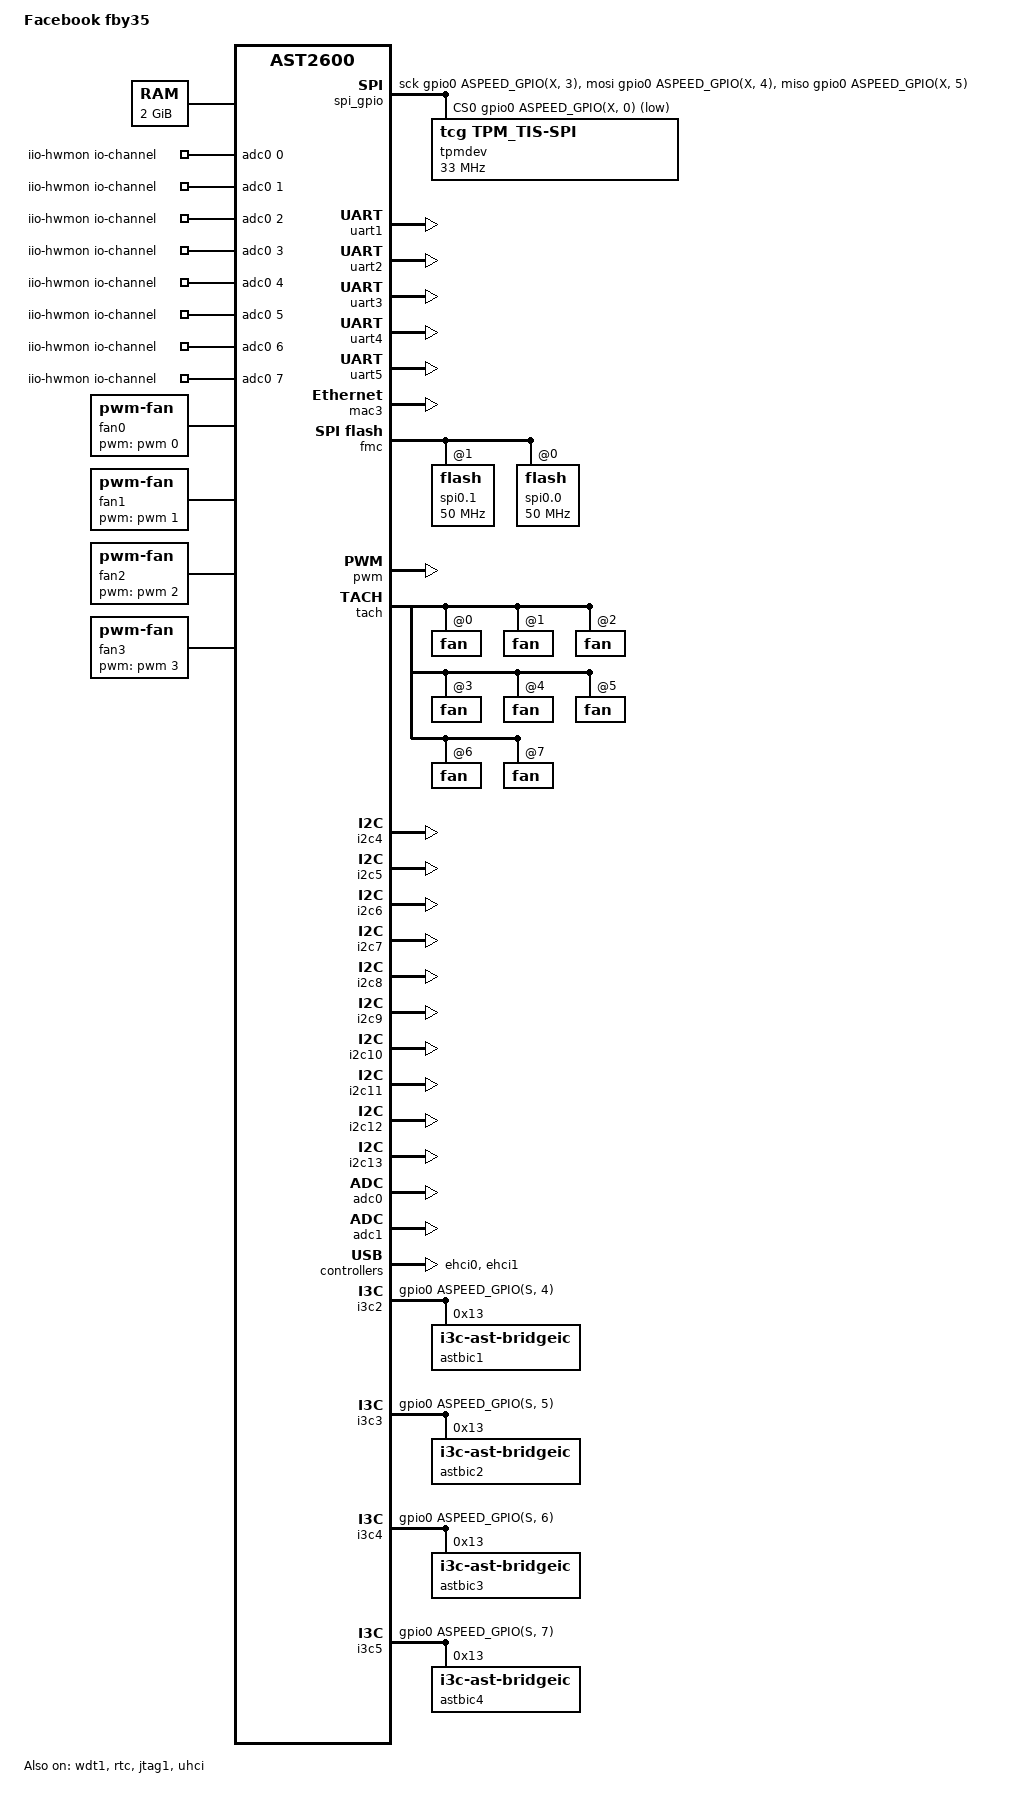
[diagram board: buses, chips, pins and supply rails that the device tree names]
// SPDX-License-Identifier: GPL-2.0-or-later
// Copyright (c) 2020 Facebook Inc.

/dts-v1/;

#include "aspeed-g6.dtsi"
#include <dt-bindings/gpio/aspeed-gpio.h>
#include <dt-bindings/leds/leds-pca955x.h>

/ {
	model = "Facebook fby35";
	compatible = "facebook,fby35", "aspeed,ast2600";

	aliases {
		serial0 = &uart5;
		serial1 = &uart1;
		serial2 = &uart2;
		serial3 = &uart3;
		serial4 = &uart4;

		spi2 = &spi_gpio;
	};

	chosen {
		stdout-path = &uart5;
		bootargs = "console=ttyS0,57600n8 root=/dev/ram rw vmalloc=384M";
	};

	memory@80000000 {
		device_type = "memory";
		reg = <0x80000000 0x80000000>;
	};
	iio-hwmon {
		compatible = "iio-hwmon";
		io-channels = <&adc0 0>, <&adc0 1>, <&adc0 2>, <&adc0 3>,
			<&adc0 4>, <&adc0 5>, <&adc0 6>, <&adc0 7>,
			<&adc1 0>, <&adc1 1>, <&adc1 2>, <&adc1 3>,
			<&adc1 4>, <&adc1 5>, <&adc1 6>;
	};

	fan0: pwm-fan0 {
		compatible = "pwm-fan";
		pwms = <&pwm 0 40000 0>;	/* Target freq:25 kHz */
		cooling-min-state = <0>;
		cooling-max-state = <3>;
		#cooling-cells = <2>;
		cooling-levels = <0 25 128 255>;
		retain-state-shutdown;
	};

	fan1: pwm-fan1 {
		compatible = "pwm-fan";
		pwms = <&pwm 1 40000 0>;	/* Target freq:25 kHz */
		cooling-min-state = <0>;
		cooling-max-state = <3>;
		#cooling-cells = <2>;
		cooling-levels = <0 15 128 255>;
		retain-state-shutdown;
	};

	fan2: pwm-fan2 {
		compatible = "pwm-fan";
		pwms = <&pwm 2 40000 0>;	/* Target freq:25 kHz */
		cooling-min-state = <0>;
		cooling-max-state = <3>;
		#cooling-cells = <2>;
		cooling-levels = <0 15 128 255>;
		retain-state-shutdown;
	};

	fan3: pwm-fan3 {
		compatible = "pwm-fan";
		pwms = <&pwm 3 40000 0>;	/* Target freq:25 kHz */
		cooling-min-state = <0>;
		cooling-max-state = <3>;
		#cooling-cells = <2>;
		cooling-levels = <0 15 128 255>;
		retain-state-shutdown;
	};

	spi_gpio: spi-gpio {
		status = "okay";
		compatible = "spi-gpio";
		#address-cells = <1>;
		#size-cells = <0>;

		gpio-sck = <&gpio0 ASPEED_GPIO(X, 3) GPIO_ACTIVE_HIGH>;
		gpio-mosi = <&gpio0 ASPEED_GPIO(X, 4) GPIO_ACTIVE_HIGH>;
		gpio-miso = <&gpio0 ASPEED_GPIO(X, 5) GPIO_ACTIVE_HIGH>;
		num-chipselects = <1>;
		cs-gpios = <&gpio0 ASPEED_GPIO(X, 0) GPIO_ACTIVE_LOW>;

		tpmdev@0 {
			compatible = "tcg,tpm_tis-spi";
			spi-max-frequency = <33000000>;
			reg = <0>;
		};
	};
};

&uart1 {
	compatible = "aspeed,ast2600-uart";
	status = "okay";
};

&uart2 {
	compatible = "aspeed,ast2600-uart";
	status = "okay";
};

&uart3 {
	compatible = "aspeed,ast2600-uart";
	status = "okay";
};

&uart4 {
	compatible = "aspeed,ast2600-uart";
	status = "okay";
};

&uart5 {
	status = "okay";
	/* Workaround for AST2600 A0 */
	compatible = "snps,dw-apb-uart";
};

&wdt1 {
	status = "okay";
	pinctrl-names = "default";
	pinctrl-0 = <&pinctrl_wdtrst1_default>;
	aspeed,reset-type = "soc";
	aspeed,external-signal;
	aspeed,ext-push-pull;
	aspeed,ext-active-high;
	aspeed,ext-pulse-duration = <256>;
};

&mac3 {
	status = "okay";

	pinctrl-names = "default";
	pinctrl-0 = <&pinctrl_rmii4_default>;
	no-hw-checksum;
	use-ncsi;
	mlx,multi-host;
	disable-ncsi-vlan-filter;
	ncsi-ctrl,start-redo-probe;
	ncsi-ctrl,no-channel-monitor;
	ncsi-package = <1>;
	ncsi-channel = <1>;
	ncsi-rexmit = <1>;
	ncsi-timeout = <2>;
};

&rtc {
	status = "okay";
};

&fmc {
    status = "okay";
    flash@0 {
        reg = < 1 >;
        status = "okay";
        m25p,fast-read;
        label = "spi0.1";
        spi-max-frequency = <50000000>;
        spi-tx-bus-width = <2>;
        spi-rx-bus-width = <2>;
#include "facebook-bmc-vboot2-flash1-32MBdata0-layout.dtsi"
    };
    flash@1 {
        reg = < 0 >;
        status = "okay";
        m25p,fast-read;
        label = "spi0.0";
        spi-max-frequency = <50000000>;
        spi-tx-bus-width = <2>;
        spi-rx-bus-width = <2>;
#include "facebook-bmc-vboot2-flash0-128MB-layout.dtsi"
    };
};

&pwm {
        status = "okay";
        pinctrl-names = "default";
        pinctrl-0 = <&pinctrl_pwm0_default
		             &pinctrl_pwm1_default
					 &pinctrl_pwm2_default
					 &pinctrl_pwm3_default
					 >;
};

&tach {
        status = "okay";
        pinctrl-names = "default";
        pinctrl-0 = <&pinctrl_tach0_default
		             &pinctrl_tach1_default
					 &pinctrl_tach2_default
					 &pinctrl_tach3_default
                     &pinctrl_tach4_default
					 &pinctrl_tach5_default
					 &pinctrl_tach6_default
					 &pinctrl_tach7_default
					 >;
        fan@0 {
                aspeed,min-rpm = <30>;
                aspeed,tach-ch = <0x00>;
        };

        fan@1 {
                aspeed,min-rpm = <30>;
                aspeed,tach-ch = <0x01>;
        };
        fan@2 {
                aspeed,min-rpm = <30>;
                aspeed,tach-ch = <0x02>;
        };

        fan@3 {
                aspeed,min-rpm = <30>;
                aspeed,tach-ch = <0x03>;
        };
        fan@4 {
                aspeed,min-rpm = <30>;
                aspeed,tach-ch = <0x04>;
        };

        fan@5 {
                aspeed,min-rpm = <30>;
                aspeed,tach-ch = <0x05>;
        };
        fan@6 {
                aspeed,min-rpm = <30>;
                aspeed,tach-ch = <0x06>;
        };

        fan@7 {
                aspeed,min-rpm = <30>;
                aspeed,tach-ch = <0x07>;
        };

};

&i2c4 {
        status = "okay";
};

&i2c5 {
        status = "okay";
};

&i2c6 {
        status = "okay";
};

&i2c7 {
        status = "okay";
};

&i2c8 {
        status = "okay";
};

&i2c9 {
        multi-master;
        bus-frequency = <100000>;
        aspeed,hw-timeout-ms = <1000>;
        status = "okay";
};

&i2c10 {
        status = "okay";
};

&i2c11 {
        status = "okay";
};

&i2c12 {
        status = "okay";
};

&i2c13 {
        status = "okay";
};

&adc0 {
	ref_voltage = <2500>;
	status = "okay";

	pinctrl-0 = <&pinctrl_adc0_default &pinctrl_adc1_default
		&pinctrl_adc2_default &pinctrl_adc3_default
		&pinctrl_adc4_default &pinctrl_adc5_default
		&pinctrl_adc6_default &pinctrl_adc7_default>;
};

&adc1 {
	ref_voltage = <2500>;
	status = "okay";

	pinctrl-0 = <&pinctrl_adc8_default &pinctrl_adc9_default
		&pinctrl_adc10_default &pinctrl_adc11_default
		&pinctrl_adc12_default &pinctrl_adc13_default>;
};

&jtag1 {
       status = "okay";
       pinctrl-names = "default";
       pinctrl-0 = <&pinctrl_jtagm_default>;
};

&ehci0 {
	status = "okay";
};

&ehci1 {
	status = "okay";
};

&uhci {
	status = "okay";
};

&i3c2 {
        status = "okay";
        i3c-pp-scl-hi-period-ns = <100>;
        i3c-pp-scl-lo-period-ns = <100>;
        i3c-od-scl-hi-period-ns = <380>;
        i3c-od-scl-lo-period-ns = <620>;
        pinctrl-names = "default";
        pinctrl-0 = <&pinctrl_hvi3c3_default>;
        gpios = <&gpio0 ASPEED_GPIO(S, 4) GPIO_ACTIVE_HIGH>;
        astbic1: astbic1@13,7ec73411002 {
                reg = <0x13 0x7ec 0x73411002>;
                assigned-address = <0x13>;
                compatible = "i3c-ast-bridgeic";
        };
};

&i3c3 {
        status = "okay";
        i3c-pp-scl-hi-period-ns = <100>;
        i3c-pp-scl-lo-period-ns = <100>;
        i3c-od-scl-hi-period-ns = <380>;
        i3c-od-scl-lo-period-ns = <620>;
        pinctrl-names = "default";
        pinctrl-0 = <&pinctrl_hvi3c4_default>;
        gpios = <&gpio0 ASPEED_GPIO(S, 5) GPIO_ACTIVE_HIGH>;
        astbic2: astbic2@13,7ec73411002 {
                reg = <0x13 0x7ec 0x73411002>;
                assigned-address = <0x13>;
                compatible = "i3c-ast-bridgeic";
        };
};

&i3c4 {
        status = "okay";
        i3c-pp-scl-hi-period-ns = <100>;
        i3c-pp-scl-lo-period-ns = <100>;
        i3c-od-scl-hi-period-ns = <380>;
        i3c-od-scl-lo-period-ns = <620>;
        pinctrl-names = "default";
        pinctrl-0 = <&pinctrl_i3c5_default>;
        gpios = <&gpio0 ASPEED_GPIO(S, 6) GPIO_ACTIVE_HIGH>;
        astbic3: astbic3@13,7ec73411002 {
                reg = <0x13 0x7ec 0x73411002>;
                assigned-address = <0x13>;
                compatible = "i3c-ast-bridgeic";
        };
};

&i3c5 {
        status = "okay";
        i3c-pp-scl-hi-period-ns = <100>;
        i3c-pp-scl-lo-period-ns = <100>;
        i3c-od-scl-hi-period-ns = <380>;
        i3c-od-scl-lo-period-ns = <620>;
        pinctrl-names = "default";
        pinctrl-0 = <&pinctrl_i3c6_default>;
        gpios = <&gpio0 ASPEED_GPIO(S, 7) GPIO_ACTIVE_HIGH>;
        astbic4: astbic4@13,7ec73411002 {
                reg = <0x13 0x7ec 0x73411002>;
                assigned-address = <0x13>;
                compatible = "i3c-ast-bridgeic";
        };
};

/* override setup mtd partition layout */
&fitro {
	reg = <0x1A0000 0x3E60000>;
};

&flash0 {
	reg = <0x0 0x8000000>;
};

&fit {
	reg = <0x1A0000 0x3E60000>;
};

&data0 {
	reg = <0x6000000 0x2000000>;
};
